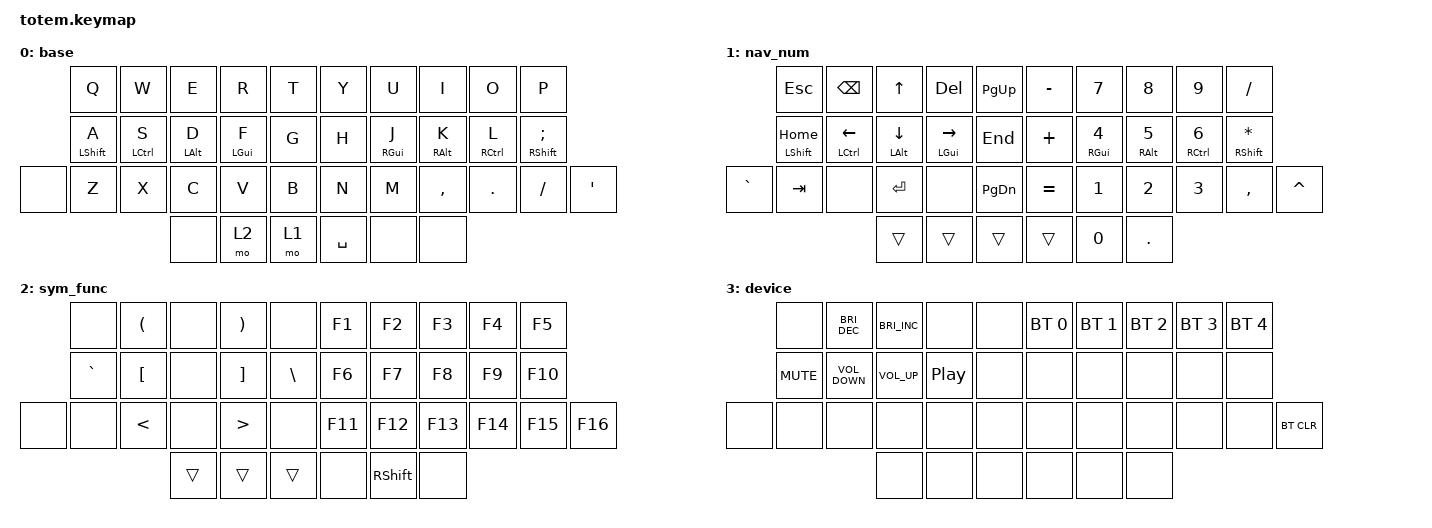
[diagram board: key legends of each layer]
//
//                                                        ▀▀▀▀▀     ▀▀▀▀▀          ▀▀█▀▀
//                                                        ▄▀▀▀▄  ▄  ▄▀▀▀▄  ▄  ▄▀▀▀▄  █  ▄▀▀▀▄
//                                                        █   █  █  █   █  █  █   █  █  █   █
//                                                         ▀▀▀   █   ▀▀▀   █   ▀▀▀   ▀   ▀▀▀
//                                                               █      ▄▄▄█▄▄▄    █   █  
//                                                               ▀      █  █  █     █▄█
//                                                             ▀▀▀▀▀    █  █  █      ▀
//                                                                      ▀  ▀  ▀
//
// ▄▄▄▄▄▄▄▄▄▄▄▄▄▄▄▄▄▄▄▄▄▄▄▄▄▄▄▄▄▄▄▄▄▄▄▄▄▄▄▄▄▄▄▄▄▄▄▄▄▄▄▄▄▄▄▄▄▄▄▄▄▄▄▄▄▄▄▄▄▄▄▄▄▄▄▄▄▄▄▄▄▄▄▄▄▄▄▄▄▄▄▄▄▄▄▄▄▄▄▄▄▄▄▄▄▄▄▄▄▄▄▄▄▄▄▄▄▄▄▄▄▄▄▄▄▄▄▄▄▄▄▄▄▄▄▄▄▄▄▄▄▄▄▄▄▄▄▄▄

#include <behaviors.dtsi>
#include <dt-bindings/zmk/bt.h>
#include <dt-bindings/zmk/keys.h>

/ {
    behaviors {
        // Left-hand home row mods

        hml: homerow_mods_left {
            compatible = "zmk,behavior-hold-tap";
            #binding-cells = <2>;
            flavor = "balanced";
            tapping-term-ms = <280>;
            quick-tap-ms = <175>;
            require-prior-idle-ms = <150>;
            hold-trigger-on-release;
            hold-trigger-key-positions = <
                10 11 12 13 14 15 16 17 18 19
                24 25 26 27 28 29 30 31
                32 33 34 35 36 37
            >;

            bindings = <&kp>, <&kp>;
        };

        // Right-hand home row mods

        hmr: homerow_mods_right {
            compatible = "zmk,behavior-hold-tap";
            #binding-cells = <2>;
            flavor = "balanced";
            tapping-term-ms = <280>;
            quick-tap-ms = <175>;
            require-prior-idle-ms = <150>;
            hold-trigger-on-release;
            hold-trigger-key-positions = <
                0  1  2  3  4  5  6  7  8  9
                20 21 22 23
                32 33 34 35 36 37
            >;

            bindings = <&kp>, <&kp>;
        };
    };

    keymap {
        compatible = "zmk,keymap";

        base {
            bindings = <
       &kp Q              &kp W         &kp E        &kp R        &kp T    &kp Y      &kp U        &kp I        &kp O         &kp P
       &hml LEFT_SHIFT A  &hml LCTRL S  &hml LALT D  &hml LGUI F  &kp G    &kp H      &hmr RGUI J  &hmr RALT K  &hmr RCTRL L  &hmr RIGHT_SHIFT SEMI
&none  &kp Z              &kp X         &kp C        &kp V        &kp B    &kp N      &kp M        &kp COMMA    &kp DOT       &kp FSLH               &kp APOS
                                        &none        &mo 2        &mo 1    &kp SPACE  &none        &none
            >;
        };

        nav_num {
            bindings = <
           &kp ESC           &kp BACKSPACE          &kp UP          &kp DELETE       &kp PAGE_UP      &kp MINUS  &kp NUMBER_7        &kp NUMBER_8  &kp NUMBER_9         &kp SLASH
           &hml LSHIFT HOME  &hml LCTRL LEFT_ARROW  &hml LALT DOWN  &hml LGUI RIGHT  &kp END          &kp PLUS   &hmr RGUI NUMBER_4  &hmr RALT N5  &hmr RCTRL NUMBER_6  &hmr RSHIFT ASTERISK
&kp GRAVE  &kp TAB           &none                  &kp ENTER       &none            &kp PAGE_DOWN    &kp EQUAL  &kp NUMBER_1        &kp NUMBER_2  &kp NUMBER_3         &kp COMMA             &kp CARET
                                                    &trans          &trans           &trans           &trans     &kp N0              &kp PERIOD
            >;
        };

        sym_func {
            bindings = <
       &none      &kp LPAR  &none   &kp RPAR  &none       &kp F1   &kp F2           &kp F3   &kp F4   &kp F5
       &kp GRAVE  &kp LBKT  &none   &kp RBKT  &kp BSLH    &kp F6   &kp F7           &kp F8   &kp F9   &kp F10
&none  &none      &kp LT    &none   &kp GT    &none       &kp F11  &kp F12          &kp F13  &kp F14  &kp F15  &kp F16
                            &trans  &trans    &trans      &none    &kp RIGHT_SHIFT  &none
            >;
        };

        device {
            bindings = <
       &none       &kp C_BRIGHTNESS_DEC  &kp C_BRIGHTNESS_INC  &none             &none    &bt BT_SEL 0  &bt BT_SEL 1  &bt BT_SEL 2  &bt BT_SEL 3  &bt BT_SEL 4
       &kp K_MUTE  &kp C_VOLUME_DOWN     &kp C_VOLUME_UP       &kp C_PLAY_PAUSE  &none    &none         &none         &none         &none         &none
&none  &none       &none                 &none                 &none             &none    &none         &none         &none         &none         &none         &bt BT_CLR
                                         &none                 &none             &none    &none         &none         &none
            >;
        };

        extra1 { status = "reserved"; };

        extra2 { status = "reserved"; };

        extra3 { status = "reserved"; };
    };

    conditional_layers {
        compatible = "zmk,conditional-layers";

        device {
            if-layers = <1 2>;
            then-layer = <3>;
        };
    };
};
